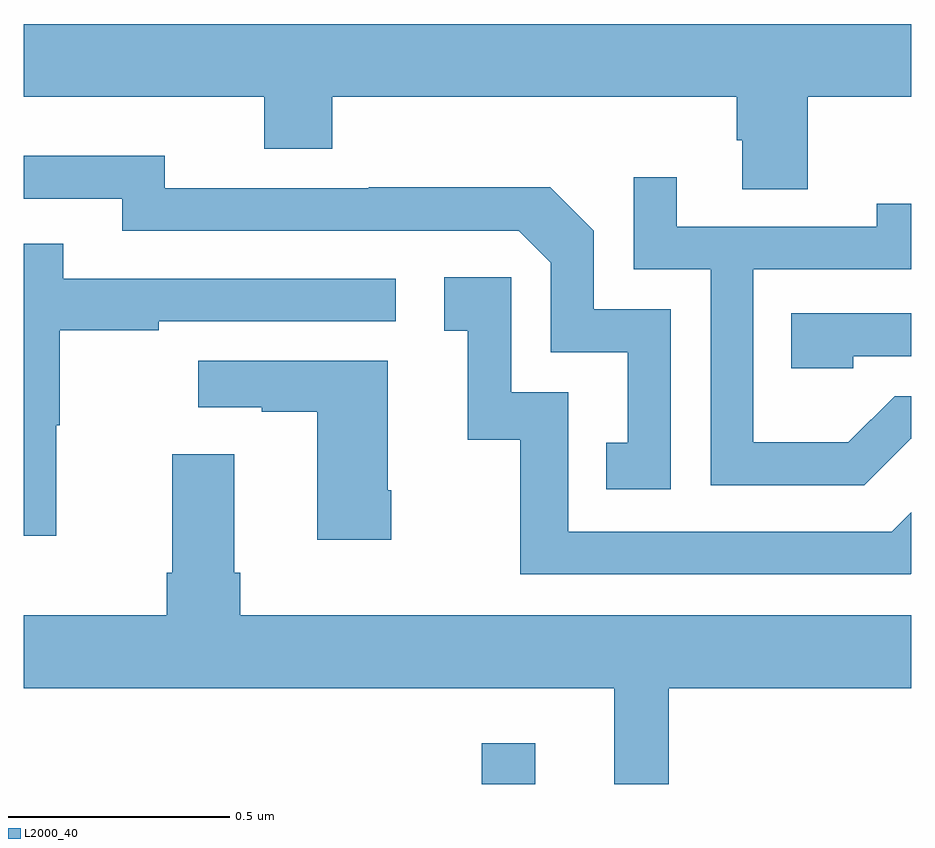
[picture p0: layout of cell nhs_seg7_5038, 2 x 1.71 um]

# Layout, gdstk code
import gdstk
lib = gdstk.Library(unit=1e-6, precision=1e-09)
def R(c, l, rs):  # rectangles x0, y0, x1, y1
    for r in rs: c.add(gdstk.rectangle(r[:2], r[2:], *l))
def P(c, l, *ps):  # polygons
    for p in ps: c.add(gdstk.Polygon(p, *l))
L2000_40 = (2000, 40)

nhs_seg7_5038 = lib.new_cell('nhs_seg7_5038')
R(nhs_seg7_5038, L2000_40, [(181.032,1067,181.153,1067.092)])
P(nhs_seg7_5038, L2000_40, [(181.767,1068.548),(182,1068.548),(182,1068.712),(180,1068.712),(180,1068.548),(180.542,1068.548),(180.542,1068.431),(180.695,1068.431),(180.695,1068.548),(181.607,1068.548),(181.607,1068.45),(181.619,1068.45),(181.619,1068.34),(181.767,1068.34)],
  [(181.458,1068.069),(181.284,1068.069),(181.284,1068.246),(181.186,1068.344),(180.778,1068.344),(180.778,1068.342),(180.318,1068.342),(180.318,1068.415),(180,1068.415),(180,1068.318),(180.222,1068.318),(180.222,1068.246),(181.116,1068.246),(181.188,1068.174),(181.188,1067.973),(181.361,1067.973),(181.361,1067.769),(181.312,1067.769),(181.312,1067.664),(181.458,1067.664)],
  [(181.999,1067.778),(182,1067.778),(182,1067.874),(181.962,1067.874),(181.858,1067.77),(181.644,1067.77),(181.644,1068.159),(182,1068.159),(182,1068.307),(181.922,1068.307),(181.922,1068.255),(181.471,1068.255),(181.471,1068.367),(181.374,1068.367),(181.374,1068.159),(181.548,1068.159),(181.548,1067.673),(181.894,1067.673)],
  [(180.074,1067.808),(180.082,1067.808),(180.082,1068.022),(180.305,1068.022),(180.305,1068.042),(180.838,1068.042),(180.838,1068.138),(180.089,1068.138),(180.089,1068.217),(180,1068.217),(180,1067.559),(180.074,1067.559)],
  [(182,1067.474),(182,1067.612),(181.956,1067.568),(181.227,1067.568),(181.227,1067.883),(181.098,1067.883),(181.098,1068.142),(180.948,1068.142),(180.948,1068.021),(181.001,1068.021),(181.001,1067.775),(181.119,1067.775),(181.119,1067.472),(181.998,1067.472)],
  [(181.869,1067.964),(182,1067.964),(182,1068.06),(181.729,1068.06),(181.729,1067.937),(181.869,1067.937)],
  [(180.828,1067.662),(180.82,1067.662),(180.82,1067.953),(180.393,1067.953),(180.393,1067.849),(180.536,1067.849),(180.536,1067.839),(180.662,1067.839),(180.662,1067.55),(180.828,1067.55)],
  [(180.475,1067.476),(180.475,1067.743),(180.335,1067.743),(180.335,1067.476),(180.323,1067.476),(180.323,1067.38),(180,1067.38),(180,1067.216),(181.331,1067.216),(181.331,1067),(181.453,1067),(181.453,1067.216),(182,1067.216),(182,1067.38),(180.488,1067.38),(180.488,1067.476)])

lib.write_gds('nhs_seg7_5038.gds')
